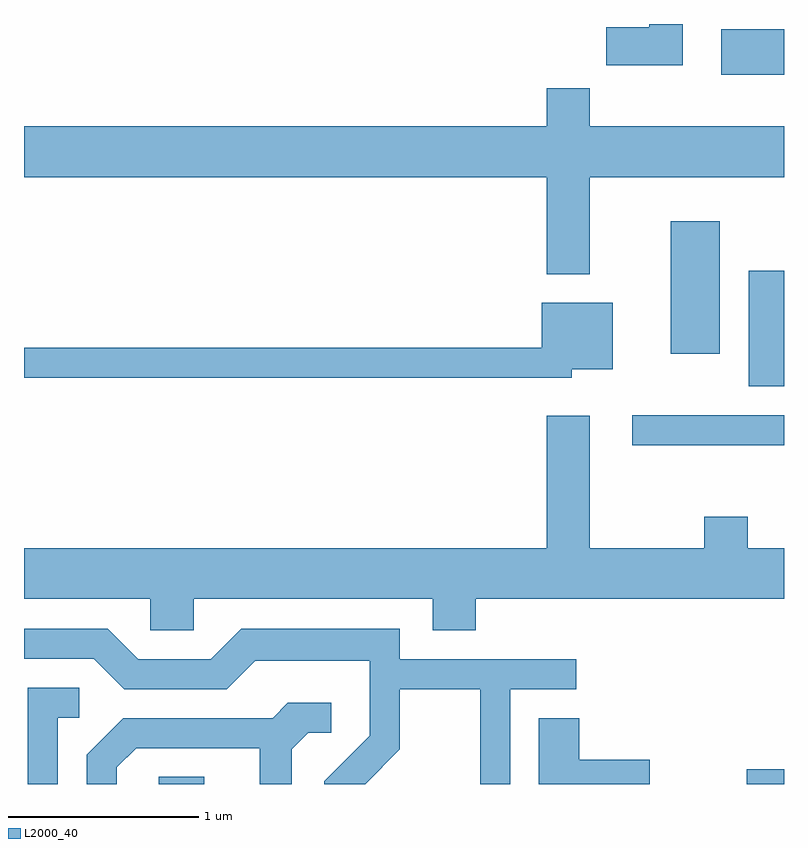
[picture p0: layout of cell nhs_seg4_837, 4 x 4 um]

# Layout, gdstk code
import gdstk
lib = gdstk.Library(unit=1e-6, precision=1e-09)
def R(c, l, rs):  # rectangles x0, y0, x1, y1
    for r in rs: c.add(gdstk.rectangle(r[:2], r[2:], *l))
def P(c, l, *ps):  # polygons
    for p in ps: c.add(gdstk.Polygon(p, *l))
L2000_40 = (2000, 40)

nhs_seg4_837 = lib.new_cell('nhs_seg4_837')
R(nhs_seg4_837, L2000_40, [(210.321,1295.982,210.559,1296.019), (213.416,1295.982,213.611,1296.059), (212.813,1297.766,213.611,1297.924), (213.426,1298.076,213.611,1298.684), (213.016,1298.246,213.274,1298.944), (213.281,1299.716,213.611,1299.954)])
P(nhs_seg4_837, L2000_40, [(213.079,1299.982),(212.901,1299.982),(212.901,1299.964),(212.676,1299.964),(212.676,1299.766),(213.079,1299.766)],
  [(212.589,1299.176),(213.611,1299.176),(213.611,1299.444),(212.589,1299.444),(212.589,1299.644),(212.361,1299.644),(212.361,1299.444),(209.611,1299.444),(209.611,1299.176),(212.361,1299.176),(212.361,1298.666),(212.589,1298.666)],
  [(212.494,1298.166),(212.709,1298.166),(212.709,1298.514),(212.336,1298.514),(212.336,1298.279),(209.611,1298.279),(209.611,1298.121),(212.494,1298.121)],
  [(210.504,1296.956),(211.761,1296.956),(211.761,1296.791),(211.989,1296.791),(211.989,1296.956),(213.611,1296.956),(213.611,1297.224),(213.419,1297.224),(213.419,1297.389),(213.191,1297.389),(213.191,1297.224),(212.589,1297.224),(212.589,1297.919),(212.361,1297.919),(212.361,1297.224),(209.611,1297.224),(209.611,1296.956),(210.276,1296.956),(210.276,1296.791),(210.504,1296.791)],
  [(211.589,1296.164),(211.589,1296.481),(212.011,1296.481),(212.011,1295.982),(212.169,1295.982),(212.169,1296.481),(212.518,1296.481),(212.518,1296.639),(211.589,1296.639),(211.589,1296.799),(210.754,1296.799),(210.594,1296.639),(210.212,1296.639),(210.052,1296.799),(209.611,1296.799),(209.611,1296.641),(209.979,1296.641),(210.139,1296.481),(210.677,1296.481),(210.827,1296.631),(211.431,1296.631),(211.431,1296.237),(211.191,1295.997),(211.191,1295.982),(211.407,1295.982)],
  [(209.789,1296.331),(209.903,1296.331),(209.903,1296.489),(209.631,1296.489),(209.631,1295.982),(209.789,1295.982)],
  [(210.099,1296.069),(210.202,1296.171),(210.851,1296.171),(210.851,1295.982),(211.019,1295.982),(211.019,1296.164),(211.107,1296.251),(211.228,1296.251),(211.228,1296.409),(210.999,1296.409),(210.919,1296.329),(210.134,1296.329),(209.941,1296.137),(209.941,1295.982),(210.099,1295.982)],
  [(212.904,1296.109),(212.534,1296.109),(212.534,1296.329),(212.321,1296.329),(212.321,1295.982),(212.904,1295.982)])

lib.write_gds('nhs_seg4_837.gds')
